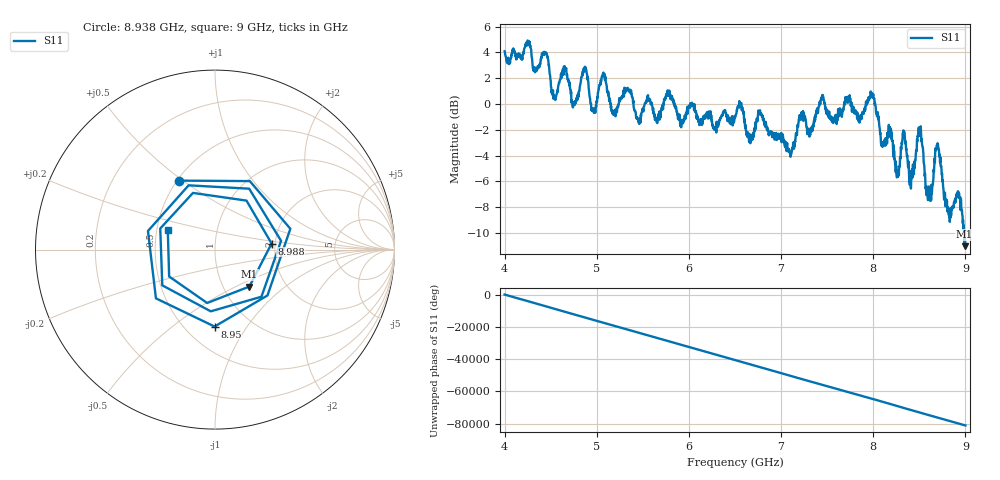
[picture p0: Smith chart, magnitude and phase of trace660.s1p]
! Created with skrf 1.8.0 (http://scikit-rf.org).
# Hz S RI R 50.0
!freq ReS11 ImS11
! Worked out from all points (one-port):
!   1601 points, 4 GHz to 9 GHz, reference 50 ohm
!   lowest |S11| = -11.0 dB at 8.991 GHz (marker M1), VSWR 1.78, Z = 66.2 - j29.6 ohm
!   |S11| at or under -10 dB: 8.98807 GHz to end of sweep
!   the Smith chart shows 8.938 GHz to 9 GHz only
!   S11 on the Smith chart (normalised r, x): 8.938 GHz: 0.51, +0.48; 8.95 GHz: 0.69, -0.72; 8.988 GHz: 1.91, +0.14; 9 GHz: 0.57, +0.14
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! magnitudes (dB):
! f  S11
! 4 GHz  4.1
! 4.444 GHz  4.0
! 4.541 GHz  0.4
! 4.625 GHz  2.3
! 4.75 GHz  -0.1
! 4.869 GHz  2.5
! 4.962 GHz  -0.4
! 5.069 GHz  2.4
! 5.25 GHz  0.2
! 5.875 GHz  -0.8
! 6.5 GHz  -1.0
! 7.125 GHz  -3.4
! 7.222 GHz  -0.9
! 7.75 GHz  0.4
! 7.988 GHz  0.5
! 8.256 GHz  -5.7
! 8.328 GHz  -2.0
! 8.375 GHz  -4.6
! 8.416 GHz  -5.8
! 8.503 GHz  -1.8
! 8.594 GHz  -7.5
! 8.697 GHz  -3.1
! 8.812 GHz  -8.0
! 8.938 GHz  -7.3
! 8.95 GHz  -7.4
! 8.988 GHz  -10.0
! 8.991 GHz  -11.0
! 9 GHz  -10.9
